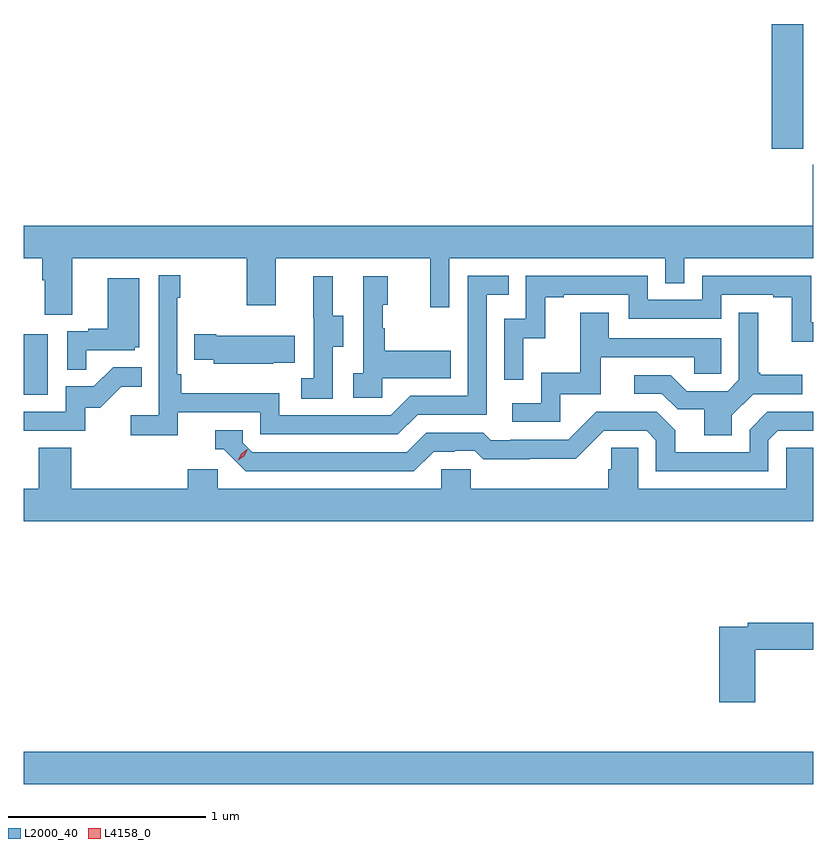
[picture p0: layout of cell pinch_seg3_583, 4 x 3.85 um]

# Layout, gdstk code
import gdstk
lib = gdstk.Library(unit=1e-6, precision=1e-09)
def R(c, l, rs):  # rectangles x0, y0, x1, y1
    for r in rs: c.add(gdstk.rectangle(r[:2], r[2:], *l))
def P(c, l, *ps):  # polygons
    for p in ps: c.add(gdstk.Polygon(p, *l))
L2000_40 = (2000, 40)
L4158_0 = (4158, 0)

pinch_seg3_583 = lib.new_cell('pinch_seg3_583')
R(pinch_seg3_583, L2000_40, [(1053.139,702.248,1057.139,702.412), (1053.139,704.22,1053.262,704.527), (1056.929,705.465,1057.089,706.098)])
P(pinch_seg3_583, L2000_40, [(1053.385,704.912),(1054.27,704.912),(1054.27,704.673),(1054.417,704.673),(1054.417,704.912),(1055.198,704.912),(1055.198,704.664),(1055.295,704.664),(1055.295,704.912),(1056.39,704.912),(1056.39,704.785),(1056.486,704.785),(1056.486,704.912),(1057.139,704.912),(1057.139,705.385),(1057.136,705.385),(1057.136,705.076),(1053.139,705.076),(1053.139,704.912),(1053.233,704.912),(1053.233,704.8),(1053.245,704.8),(1053.245,704.626),(1053.385,704.626)],
  [(1053.92,704.13),(1054.338,704.13),(1054.338,704.019),(1055.035,704.019),(1055.134,704.118),(1055.484,704.118),(1055.484,704.727),(1055.597,704.727),(1055.597,704.823),(1055.388,704.823),(1055.388,704.214),(1055.097,704.214),(1054.998,704.115),(1054.434,704.115),(1054.434,704.227),(1053.938,704.227),(1053.938,704.323),(1053.918,704.323),(1053.918,704.711),(1053.931,704.711),(1053.931,704.824),(1053.822,704.824),(1053.822,704.116),(1053.681,704.116),(1053.681,704.014),(1053.92,704.014)],
  [(1055.67,704.507),(1055.78,704.507),(1055.78,704.715),(1055.875,704.715),(1055.875,704.727),(1056.204,704.727),(1056.204,704.604),(1056.672,704.604),(1056.672,704.727),(1056.935,704.727),(1056.935,704.715),(1057.031,704.715),(1057.031,704.489),(1057.139,704.489),(1057.139,704.587),(1057.128,704.587),(1057.128,704.823),(1056.576,704.823),(1056.576,704.7),(1056.3,704.7),(1056.3,704.823),(1055.682,704.823),(1055.682,704.604),(1055.574,704.604),(1055.574,704.295),(1055.67,704.295)],
  [(1054.956,704.303),(1055.303,704.303),(1055.303,704.443),(1054.969,704.443),(1054.969,704.558),(1054.959,704.558),(1054.959,704.676),(1054.984,704.676),(1054.984,704.821),(1054.86,704.821),(1054.86,704.33),(1054.809,704.33),(1054.809,704.205),(1054.956,704.205)],
  [(1054.704,704.464),(1054.759,704.464),(1054.759,704.619),(1054.705,704.619),(1054.705,704.821),(1054.607,704.821),(1054.607,704.607),(1054.608,704.607),(1054.608,704.303),(1054.545,704.303),(1054.545,704.2),(1054.704,704.2)],
  [(1053.455,704.445),(1053.702,704.445),(1053.702,704.46),(1053.724,704.46),(1053.724,704.809),(1053.566,704.809),(1053.566,704.554),(1053.467,704.554),(1053.467,704.541),(1053.36,704.541),(1053.36,704.347),(1053.455,704.347)],
  [(1055.856,704.223),(1056.061,704.223),(1056.061,704.409),(1056.535,704.409),(1056.535,704.325),(1056.672,704.325),(1056.672,704.505),(1056.103,704.505),(1056.103,704.635),(1055.959,704.635),(1055.959,704.332),(1055.76,704.332),(1055.76,704.178),(1055.613,704.178),(1055.613,704.082),(1055.856,704.082)],
  [(1056.727,704.116),(1056.834,704.223),(1057.084,704.223),(1057.084,704.32),(1056.871,704.32),(1056.871,704.332),(1056.859,704.332),(1056.859,704.635),(1056.762,704.635),(1056.762,704.295),(1056.705,704.238),(1056.499,704.238),(1056.418,704.319),(1056.231,704.319),(1056.231,704.226),(1056.372,704.226),(1056.452,704.146),(1056.587,704.146),(1056.587,704.014),(1056.727,704.014)],
  [(1054.403,704.381),(1054.511,704.381),(1054.511,704.518),(1054.114,704.518),(1054.114,704.526),(1054.003,704.526),(1054.003,704.396),(1054.101,704.396),(1054.101,704.378),(1054.403,704.378)],
  [(1053.45,704.154),(1053.526,704.154),(1053.633,704.261),(1053.737,704.261),(1053.737,704.36),(1053.593,704.36),(1053.495,704.262),(1053.351,704.262),(1053.351,704.133),(1053.139,704.133),(1053.139,704.037),(1053.45,704.037)],
  [(1055.215,703.932),(1055.322,703.932),(1055.322,703.935),(1055.425,703.935),(1055.467,703.893),(1055.7,703.893),(1055.7,703.895),(1055.936,703.895),(1056.078,704.037),(1056.294,704.037),(1056.342,703.989),(1056.342,703.833),(1056.912,703.833),(1056.912,703.989),(1056.96,704.037),(1057.139,704.037),(1057.139,704.135),(1057.122,704.135),(1057.122,704.133),(1056.906,704.133),(1056.816,704.043),(1056.816,703.929),(1056.439,703.929),(1056.439,704.039),(1056.345,704.133),(1056.039,704.133),(1055.898,703.992),(1055.605,703.992),(1055.605,703.989),(1055.506,703.989),(1055.467,704.028),(1055.178,704.028),(1055.079,703.929),(1054.296,703.929),(1054.248,703.977),(1054.248,704.04),(1054.109,704.04),(1054.109,703.944),(1054.152,703.944),(1054.263,703.833),(1055.116,703.833)],
  [(1057.139,703.952),(1057.002,703.952),(1057.002,703.744),(1056.252,703.744),(1056.252,703.952),(1056.115,703.952),(1056.115,703.842),(1056.101,703.842),(1056.101,703.744),(1055.403,703.744),(1055.403,703.842),(1055.253,703.842),(1055.253,703.744),(1054.122,703.744),(1054.122,703.842),(1053.971,703.842),(1053.971,703.744),(1053.38,703.744),(1053.38,703.952),(1053.215,703.952),(1053.215,703.744),(1053.139,703.744),(1053.139,703.58),(1057.139,703.58)],
  [(1056.845,702.928),(1057.139,702.928),(1057.139,703.064),(1056.808,703.064),(1056.808,703.044),(1056.662,703.044),(1056.662,702.663),(1056.845,702.663)])
P(pinch_seg3_583, L4158_0, [(1054.227,703.889),(1054.227,703.889),(1054.242,703.922),(1054.272,703.943),(1054.272,703.943),(1054.272,703.942),(1054.257,703.909),(1054.227,703.889)])

lib.write_gds('pinch_seg3_583.gds')
